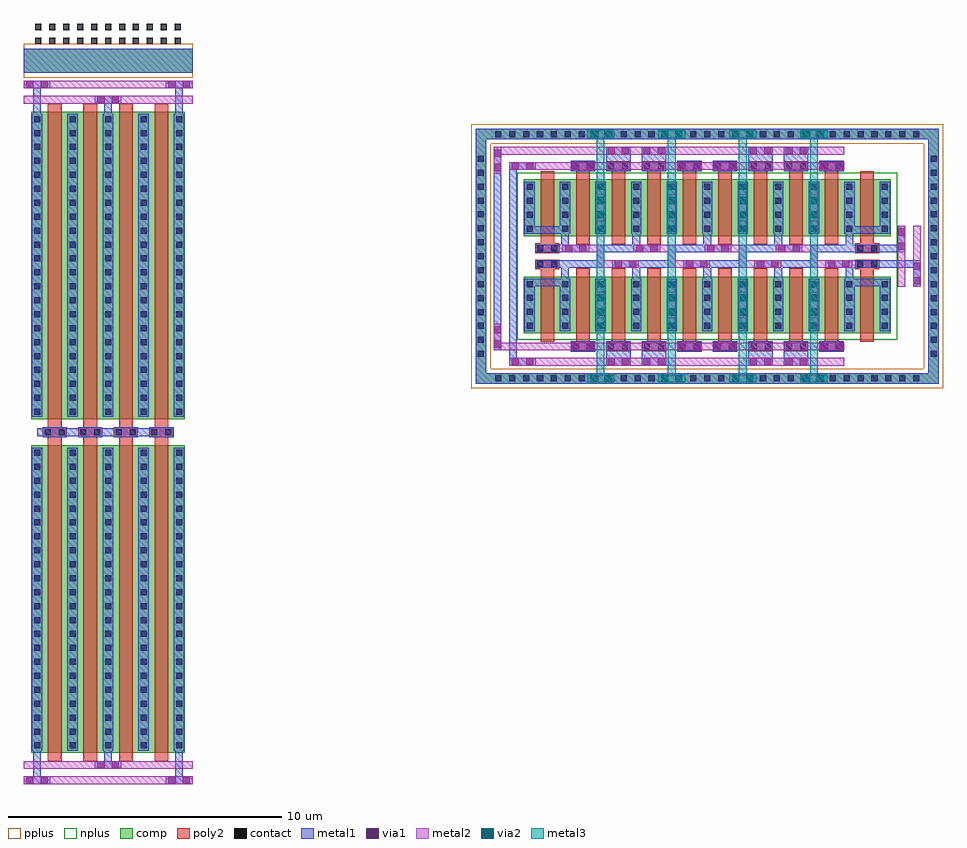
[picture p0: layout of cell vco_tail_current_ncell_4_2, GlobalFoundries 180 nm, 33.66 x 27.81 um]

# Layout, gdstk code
from math import pi, radians
import gdstk
lib = gdstk.Library(unit=1e-6, precision=5e-09)
def R(c, l, rs):  # rectangles x0, y0, x1, y1
    for r in rs: c.add(gdstk.rectangle(r[:2], r[2:], *l))
def A(c, l, x, y, w, h, nx, ny, dx, dy):  # array of equal rectangles
    R(c, l, [(x+i*dx, y+j*dy, x+i*dx+w, y+j*dy+h) for i in range(nx) for j in range(ny)])
comp = (22, 0)
poly2 = (30, 0)
pplus = (31, 0)
nplus = (32, 0)
contact = (33, 0)
metal1 = (34, 0)
via1 = (35, 0)
metal2 = (36, 0)
via2 = (38, 0)
metal3 = (42, 0)

vco_tail_current_ncell_1 = lib.new_cell('vco_tail_current_ncell_1$1')
R(vco_tail_current_ncell_1, comp, [(0,0.3,0.42,11.55), (0.42,0.3,1.3,11.55), (1.3,0.3,1.72,11.55)])
R(vco_tail_current_ncell_1, poly2, [(0.61,0,1.11,11.85)])
A(vco_tail_current_ncell_1, contact, 0.1, 0.46, 0.22, 0.22, 1, 22, 0, 0.51)
A(vco_tail_current_ncell_1, contact, 1.4, 0.46, 0.22, 0.22, 1, 22, 0, 0.51)
R(vco_tail_current_ncell_1, metal1, [(0.02,0.38,0.4,11.47), (1.32,0.38,1.7,11.47)])

vco_tail_current_ncell_4 = lib.new_cell('vco_tail_current_ncell_4')
A(vco_tail_current_ncell_4, poly2, 0.425, 11.85, 0.87, 0.36, 4, 1, 1.3, 0)
R(vco_tail_current_ncell_4, contact, [(0.495,11.92,0.715,12.14), (1.005,11.92,1.225,12.14), (1.795,11.92,2.015,12.14), (2.305,11.92,2.525,12.14), (3.095,11.92,3.315,12.14), (3.605,11.92,3.825,12.14), (4.395,11.92,4.615,12.14), (4.905,11.92,5.125,12.14)])
A(vco_tail_current_ncell_4, metal1, 0.415, 11.84, 0.89, 0.38, 4, 1, 1.3, 0)
vco_tail_current_ncell_4.add(gdstk.Reference(vco_tail_current_ncell_1, (0,0)))
vco_tail_current_ncell_4.add(gdstk.Reference(vco_tail_current_ncell_1, (1.3,0)))
vco_tail_current_ncell_4.add(gdstk.Reference(vco_tail_current_ncell_1, (2.6,0)))
vco_tail_current_ncell_4.add(gdstk.Reference(vco_tail_current_ncell_1, (3.9,0)))

delay_stage_ncell_1_1_1_ = lib.new_cell('delay_stage_ncell_1$1$1$1')
R(delay_stage_ncell_1_1_1_, comp, [(0,0.3,0.42,2.38), (0.42,0.3,1.3,2.38), (1.3,0.3,1.72,2.38)])
R(delay_stage_ncell_1_1_1_, poly2, [(0.61,0,1.11,2.68)])
A(delay_stage_ncell_1_1_1_, contact, 0.1, 0.465, 0.22, 0.22, 1, 4, 0, 0.51)
A(delay_stage_ncell_1_1_1_, contact, 1.4, 0.465, 0.22, 0.22, 1, 4, 0, 0.51)
R(delay_stage_ncell_1_1_1_, metal1, [(0.02,0.385,0.4,2.295), (1.32,0.385,1.7,2.295)])

delay_stage_ncell_1_2_1 = lib.new_cell('delay_stage_ncell_1_2$1')
R(delay_stage_ncell_1_2_1, poly2, [(0.425,3.01,1.295,3.37), (0.425,3.61,1.295,3.97)])
R(delay_stage_ncell_1_2_1, contact, [(0.495,3.08,0.715,3.3), (1.005,3.08,1.225,3.3), (0.495,3.68,0.715,3.9), (1.005,3.68,1.225,3.9)])
R(delay_stage_ncell_1_2_1, metal1, [(0.21,3.065,1.295,3.07), (0.21,3.91,1.295,3.915)])
delay_stage_ncell_1_2_1.add(gdstk.FlexPath([(0.4,2.525),(1.32,2.525)], 0.28, ends="flush", simple_path=True, layer=34, datatype=0))  # metal1
delay_stage_ncell_1_2_1.add(gdstk.FlexPath([(1.295,3.21),(0.21,3.21)], 0.28, ends="flush", simple_path=True, layer=34, datatype=0))  # metal1
delay_stage_ncell_1_2_1.add(gdstk.FlexPath([(0.4,4.455),(1.32,4.455)], 0.28, ends="flush", simple_path=True, layer=34, datatype=0))  # metal1
delay_stage_ncell_1_2_1.add(gdstk.FlexPath([(1.295,3.77),(0.21,3.77)], 0.28, ends="flush", simple_path=True, layer=34, datatype=0))  # metal1
delay_stage_ncell_1_2_1.add(gdstk.Reference(delay_stage_ncell_1_1_1_, (0,3.93)))
delay_stage_ncell_1_2_1.add(gdstk.Reference(delay_stage_ncell_1_1_1_, (0,3.05), x_reflection=True))

delay_stage_ncell_1_1_2_ = lib.new_cell('delay_stage_ncell_1$1$2$1')
R(delay_stage_ncell_1_1_2_, comp, [(0,0.3,0.42,2.38), (0.42,0.3,1.3,2.38), (1.3,0.3,1.72,2.38)])
R(delay_stage_ncell_1_1_2_, poly2, [(0.61,0,1.11,2.68)])
A(delay_stage_ncell_1_1_2_, contact, 0.1, 0.465, 0.22, 0.22, 1, 4, 0, 0.51)
A(delay_stage_ncell_1_1_2_, contact, 1.4, 0.465, 0.22, 0.22, 1, 4, 0, 0.51)
R(delay_stage_ncell_1_1_2_, metal1, [(0.02,0.385,0.4,2.295), (1.32,0.385,1.7,2.295)])

delay_stage_ncell_4_1_1 = lib.new_cell('delay_stage_ncell_4$1$1')
A(delay_stage_ncell_4_1_1, poly2, 0.425, 2.675, 0.87, 0.36, 4, 1, 1.3, 0)
R(delay_stage_ncell_4_1_1, contact, [(0.495,2.745,0.715,2.965), (1.005,2.745,1.225,2.965), (1.795,2.745,2.015,2.965), (2.305,2.745,2.525,2.965), (3.095,2.745,3.315,2.965), (3.605,2.745,3.825,2.965), (4.395,2.745,4.615,2.965), (4.905,2.745,5.125,2.965)])
A(delay_stage_ncell_4_1_1, metal1, 0.415, 2.665, 0.89, 0.38, 4, 1, 1.3, 0)
delay_stage_ncell_4_1_1.add(gdstk.Reference(delay_stage_ncell_1_1_2_, (0,-0.005)))
delay_stage_ncell_4_1_1.add(gdstk.Reference(delay_stage_ncell_1_1_2_, (1.3,-0.005)))
delay_stage_ncell_4_1_1.add(gdstk.Reference(delay_stage_ncell_1_1_2_, (2.6,-0.005)))
delay_stage_ncell_4_1_1.add(gdstk.Reference(delay_stage_ncell_1_1_2_, (3.9,-0.005)))

delay_stage_ncell_4_2_1 = lib.new_cell('delay_stage_ncell_4_2$1')
R(delay_stage_ncell_4_2_1, metal1, [(1.715,0,2.605,0.51), (3.015,0,3.905,0.51), (1.715,7.49,2.605,8), (3.015,7.49,3.905,8)])
R(delay_stage_ncell_4_2_1, via1, [(1.77,0.01,2.03,0.27), (2.29,0.01,2.55,0.27), (3.07,0.01,3.33,0.27), (3.59,0.01,3.85,0.27), (0.47,0.57,0.73,0.83), (0.99,0.57,1.25,0.83), (4.37,0.57,4.63,0.83), (4.89,0.57,5.15,0.83), (1.38,1.83,1.64,2.09), (3.98,1.83,4.24,2.09), (1.38,2.35,1.64,2.61), (3.98,2.35,4.24,2.61), (2.03,3.59,2.29,3.85), (2.55,3.59,2.81,3.85), (4.63,3.59,4.89,3.85), (5.15,3.59,5.41,3.85), (0.21,4.15,0.47,4.41), (0.73,4.15,0.99,4.41), (2.81,4.15,3.07,4.41), (3.33,4.15,3.59,4.41), (1.38,5.39,1.64,5.65), (3.98,5.39,4.24,5.65), (1.38,5.91,1.64,6.17), (3.98,5.91,4.24,6.17), (0.47,7.17,0.73,7.43), (0.99,7.17,1.25,7.43), (4.37,7.17,4.63,7.43), (4.89,7.17,5.15,7.43), (1.77,7.73,2.03,7.99), (2.29,7.73,2.55,7.99), (3.07,7.73,3.33,7.99), (3.59,7.73,3.85,7.99)])
R(delay_stage_ncell_4_2_1, via2, [(1.38,1.83,1.64,2.09), (3.98,1.83,4.24,2.09), (1.38,2.35,1.64,2.61), (3.98,2.35,4.24,2.61), (1.38,5.39,1.64,5.65), (3.98,5.39,4.24,5.65), (1.38,5.91,1.64,6.17), (3.98,5.91,4.24,6.17)])
delay_stage_ncell_4_2_1.add(gdstk.FlexPath([(2.81,4.825),(2.81,4.42)], 0.28, ends="flush", simple_path=True, layer=34, datatype=0))  # metal1
delay_stage_ncell_4_2_1.add(gdstk.FlexPath([(2.81,3.175),(2.81,3.58)], 0.28, ends="flush", simple_path=True, layer=34, datatype=0))  # metal1
delay_stage_ncell_4_2_1.add(gdstk.FlexPath([(0.21,3.175),(0.21,3.58)], 0.28, ends="flush", simple_path=True, layer=34, datatype=0))  # metal1
delay_stage_ncell_4_2_1.add(gdstk.FlexPath([(0.21,4.825),(0.21,4.42)], 0.28, ends="flush", simple_path=True, layer=34, datatype=0))  # metal1
delay_stage_ncell_4_2_1.add(gdstk.FlexPath([(2.91,4.28),(1.51,4.28),(1.51,3.72),(0.07,3.72)], 0.28, ends="flush", simple_path=True, layer=34, datatype=0))  # metal1
delay_stage_ncell_4_2_1.add(gdstk.FlexPath([(1.09,4.28),(0.07,4.28)], 0.28, ends="flush", simple_path=True, layer=34, datatype=0))  # metal1
delay_stage_ncell_4_2_1.add(gdstk.FlexPath([(5.41,3.175),(5.41,3.58)], 0.28, ends="flush", simple_path=True, layer=34, datatype=0))  # metal1
delay_stage_ncell_4_2_1.add(gdstk.FlexPath([(5.55,4.28),(4.11,4.28),(4.11,3.72),(2.71,3.72)], 0.28, ends="flush", simple_path=True, layer=34, datatype=0))  # metal1
delay_stage_ncell_4_2_1.add(gdstk.FlexPath([(3.69,4.28),(2.71,4.28)], 0.28, ends="flush", simple_path=True, layer=34, datatype=0))  # metal1
delay_stage_ncell_4_2_1.add(gdstk.FlexPath([(5.41,4.825),(5.41,4.42)], 0.28, ends="flush", simple_path=True, layer=34, datatype=0))  # metal1
delay_stage_ncell_4_2_1.add(gdstk.FlexPath([(2.81,3.175),(2.81,3.58)], 0.28, ends="flush", simple_path=True, layer=34, datatype=0))  # metal1
delay_stage_ncell_4_2_1.add(gdstk.FlexPath([(5.55,3.72),(4.53,3.72)], 0.28, ends="flush", simple_path=True, layer=34, datatype=0))  # metal1
delay_stage_ncell_4_2_1.add(gdstk.FlexPath([(2.81,4.825),(2.81,4.42)], 0.28, ends="flush", simple_path=True, layer=34, datatype=0))  # metal1
delay_stage_ncell_4_2_1.add(gdstk.FlexPath([(2.91,3.72),(1.93,3.72)], 0.28, ends="flush", simple_path=True, layer=34, datatype=0))  # metal1
delay_stage_ncell_4_2_1.add(gdstk.FlexPath([(5.41,7.3),(0.405,7.3)], 0.28, ends="flush", simple_path=True, layer=36, datatype=0))  # metal2
delay_stage_ncell_4_2_1.add(gdstk.FlexPath([(5.41,7.86),(0.405,7.86)], 0.28, ends="flush", simple_path=True, layer=36, datatype=0))  # metal2
delay_stage_ncell_4_2_1.add(gdstk.FlexPath([(5.41,0.7),(0.405,0.7)], 0.28, ends="flush", simple_path=True, layer=36, datatype=0))  # metal2
delay_stage_ncell_4_2_1.add(gdstk.FlexPath([(5.41,0.14),(0.405,0.14)], 0.28, ends="flush", simple_path=True, layer=36, datatype=0))  # metal2
delay_stage_ncell_4_2_1.add(gdstk.FlexPath([(4.11,5.29),(4.11,6.27)], 0.28, ends="flush", simple_path=True, layer=36, datatype=0))  # metal2
delay_stage_ncell_4_2_1.add(gdstk.FlexPath([(1.51,5.29),(1.51,6.27)], 0.28, ends="flush", simple_path=True, layer=36, datatype=0))  # metal2
delay_stage_ncell_4_2_1.add(gdstk.FlexPath([(4.11,1.73),(4.11,2.71)], 0.28, ends="flush", simple_path=True, layer=36, datatype=0))  # metal2
delay_stage_ncell_4_2_1.add(gdstk.FlexPath([(1.51,1.73),(1.51,2.71)], 0.28, ends="flush", simple_path=True, layer=36, datatype=0))  # metal2
delay_stage_ncell_4_2_1.add(gdstk.FlexPath([(2.91,3.72),(1.51,3.72),(1.51,4.28),(0.11,4.28)], 0.28, ends="flush", simple_path=True, layer=36, datatype=0))  # metal2
delay_stage_ncell_4_2_1.add(gdstk.FlexPath([(5.51,3.72),(4.11,3.72),(4.11,4.28),(2.71,4.28)], 0.28, ends="flush", simple_path=True, layer=36, datatype=0))  # metal2
delay_stage_ncell_4_2_1.add(gdstk.FlexPath([(4.11,5.29),(4.11,6.27)], 0.28, ends="flush", simple_path=True, layer=42, datatype=0))  # metal3
delay_stage_ncell_4_2_1.add(gdstk.FlexPath([(1.51,5.29),(1.51,6.27)], 0.28, ends="flush", simple_path=True, layer=42, datatype=0))  # metal3
delay_stage_ncell_4_2_1.add(gdstk.FlexPath([(4.11,1.73),(4.11,2.71)], 0.28, ends="flush", simple_path=True, layer=42, datatype=0))  # metal3
delay_stage_ncell_4_2_1.add(gdstk.FlexPath([(1.51,1.73),(1.51,2.71)], 0.28, ends="flush", simple_path=True, layer=42, datatype=0))  # metal3
delay_stage_ncell_4_2_1.add(gdstk.Reference(delay_stage_ncell_4_1_1, (0,4.445)))
delay_stage_ncell_4_2_1.add(gdstk.Reference(delay_stage_ncell_4_1_1, (0,3.555), x_reflection=True))

c_vco_tail_current_ncell_4 = lib.new_cell('vco_tail_current_ncell_4_2')
R(c_vco_tail_current_ncell_4, nplus, [(18.065,16.25,31.965,22.37)])
A(c_vco_tail_current_ncell_4, contact, 17.255, 14.73, 0.22, 0.22, 31, 2, 0.51, 8.94)
A(c_vco_tail_current_ncell_4, contact, 16.625, 15.63, 0.22, 0.22, 1, 15, 0, 0.51)
A(c_vco_tail_current_ncell_4, contact, 33.185, 15.63, 0.22, 0.22, 1, 15, 0, 0.51)
A(c_vco_tail_current_ncell_4, contact, 0.43, 27.08, 0.22, 0.22, 11, 2, 0.51, 0.51)
R(c_vco_tail_current_ncell_4, via1, [(0.1,0.01,0.36,0.27), (0.62,0.01,0.88,0.27), (5.3,0.01,5.56,0.27), (5.82,0.01,6.08,0.27), (2.7,0.57,2.96,0.83), (3.22,0.57,3.48,0.83), (20.725,14.71,20.985,14.97), (21.245,14.71,21.505,14.97), (23.325,14.71,23.585,14.97), (23.845,14.71,24.105,14.97), (25.925,14.71,26.185,14.97), (26.445,14.71,26.705,14.97), (28.525,14.71,28.785,14.97), (29.045,14.71,29.305,14.97), (17.865,15.32,18.125,15.58), (17.865,15.32,18.125,15.58), (18.385,15.32,18.645,15.58), (18.385,15.32,18.645,15.58), (17.215,15.97,17.475,16.23), (17.215,15.97,17.475,16.23), (17.215,16.49,17.475,16.75), (17.215,16.49,17.475,16.75), (32.555,18.29,32.815,18.55), (32.555,18.29,32.815,18.55), (32.555,18.81,32.815,19.07), (32.555,18.81,32.815,19.07), (31.995,19.55,32.255,19.81), (31.995,19.55,32.255,19.81), (31.995,20.07,32.255,20.33), (31.995,20.07,32.255,20.33), (17.215,22.43,17.475,22.69), (17.215,22.43,17.475,22.69), (17.865,22.48,18.125,22.74), (17.865,22.48,18.125,22.74), (18.385,22.48,18.645,22.74), (18.385,22.48,18.645,22.74), (17.215,22.95,17.475,23.21), (17.215,22.95,17.475,23.21), (20.725,23.65,20.985,23.91), (21.245,23.65,21.505,23.91), (23.325,23.65,23.585,23.91), (23.845,23.65,24.105,23.91), (25.925,23.65,26.185,23.91), (26.445,23.65,26.705,23.91), (28.525,23.65,28.785,23.91), (29.045,23.65,29.305,23.91), (2.7,24.91,2.96,25.17), (3.22,24.91,3.48,25.17), (0.1,25.47,0.36,25.73), (0.62,25.47,0.88,25.73), (5.3,25.47,5.56,25.73), (5.82,25.47,6.08,25.73)])
R(c_vco_tail_current_ncell_4, via2, [(20.725,14.71,20.985,14.97), (21.245,14.71,21.505,14.97), (23.325,14.71,23.585,14.97), (23.845,14.71,24.105,14.97), (25.925,14.71,26.185,14.97), (26.445,14.71,26.705,14.97), (28.525,14.71,28.785,14.97), (29.045,14.71,29.305,14.97), (20.725,23.65,20.985,23.91), (21.245,23.65,21.505,23.91), (23.325,23.65,23.585,23.91), (23.845,23.65,24.105,23.91), (25.925,23.65,26.185,23.91), (26.445,23.65,26.705,23.91), (28.525,23.65,28.785,23.91), (29.045,23.65,29.305,23.91)])
c_vco_tail_current_ncell_4.add(gdstk.FlexPath([(33.295,23.97),(33.295,14.84),(16.735,14.84),(16.735,23.78),(33.105,23.78)], 0.38, ends="flush", simple_path=True, layer=34, datatype=0))  # metal1
c_vco_tail_current_ncell_4.add(gdstk.FlexPath([(30.355,19.03),(32.545,19.03)], 0.28, ends="flush", simple_path=True, layer=34, datatype=0))  # metal1
c_vco_tail_current_ncell_4.add(gdstk.FlexPath([(30.355,19.59),(31.985,19.59)], 0.28, ends="flush", simple_path=True, layer=34, datatype=0))  # metal1
c_vco_tail_current_ncell_4.add(gdstk.FlexPath([(32.685,18.19),(32.685,19.17)], 0.28, ends="flush", simple_path=True, layer=34, datatype=0))  # metal1
c_vco_tail_current_ncell_4.add(gdstk.FlexPath([(32.685,18.19),(32.685,19.17)], 0.28, ends="flush", simple_path=True, layer=34, datatype=0))  # metal1
c_vco_tail_current_ncell_4.add(gdstk.FlexPath([(32.125,19.45),(32.125,20.43)], 0.28, ends="flush", simple_path=True, layer=34, datatype=0))  # metal1
c_vco_tail_current_ncell_4.add(gdstk.FlexPath([(32.125,19.45),(32.125,20.43)], 0.28, ends="flush", simple_path=True, layer=34, datatype=0))  # metal1
c_vco_tail_current_ncell_4.add(gdstk.FlexPath([(17.345,15.87),(17.345,23.31)], 0.28, ends="flush", simple_path=True, layer=34, datatype=0))  # metal1
c_vco_tail_current_ncell_4.add(gdstk.FlexPath([(17.905,15.59),(17.905,22.75)], 0.28, ends="flush", simple_path=True, layer=34, datatype=0))  # metal1
c_vco_tail_current_ncell_4.add(gdstk.FlexPath([(17.345,22.33),(17.345,23.31)], 0.28, ends="flush", simple_path=True, layer=34, datatype=0))  # metal1
c_vco_tail_current_ncell_4.add(gdstk.FlexPath([(17.765,22.61),(18.745,22.61)], 0.28, ends="flush", simple_path=True, layer=34, datatype=0))  # metal1
c_vco_tail_current_ncell_4.add(gdstk.FlexPath([(17.765,15.45),(18.745,15.45)], 0.28, ends="flush", simple_path=True, layer=34, datatype=0))  # metal1
c_vco_tail_current_ncell_4.add(gdstk.FlexPath([(17.345,16.85),(17.345,15.87)], 0.28, ends="flush", simple_path=True, layer=34, datatype=0))  # metal1
c_vco_tail_current_ncell_4.add(gdstk.FlexPath([(0,26.465),(6.18,26.465)], 0.89, ends="flush", simple_path=True, layer=34, datatype=0))  # metal1
c_vco_tail_current_ncell_4.add(gdstk.FlexPath([(2.6,25.04),(3.58,25.04)], 0.28, ends="flush", simple_path=True, layer=34, datatype=0))  # metal1
c_vco_tail_current_ncell_4.add(gdstk.FlexPath([(3.09,24.52),(3.09,24.9)], 0.28, ends="flush", simple_path=True, layer=34, datatype=0))  # metal1
c_vco_tail_current_ncell_4.add(gdstk.FlexPath([(5.2,25.6),(6.18,25.6)], 0.28, ends="flush", simple_path=True, layer=34, datatype=0))  # metal1
c_vco_tail_current_ncell_4.add(gdstk.FlexPath([(5.69,24.52),(5.69,25.46)], 0.28, ends="flush", simple_path=True, layer=34, datatype=0))  # metal1
c_vco_tail_current_ncell_4.add(gdstk.FlexPath([(0,25.6),(0.98,25.6)], 0.28, ends="flush", simple_path=True, layer=34, datatype=0))  # metal1
c_vco_tail_current_ncell_4.add(gdstk.FlexPath([(0.49,24.52),(0.49,25.46)], 0.28, ends="flush", simple_path=True, layer=34, datatype=0))  # metal1
c_vco_tail_current_ncell_4.add(gdstk.FlexPath([(2.6,0.7),(3.58,0.7)], 0.28, ends="flush", simple_path=True, layer=34, datatype=0))  # metal1
c_vco_tail_current_ncell_4.add(gdstk.FlexPath([(3.09,1.22),(3.09,0.84)], 0.28, ends="flush", simple_path=True, layer=34, datatype=0))  # metal1
c_vco_tail_current_ncell_4.add(gdstk.FlexPath([(5.2,0.14),(6.18,0.14)], 0.28, ends="flush", simple_path=True, layer=34, datatype=0))  # metal1
c_vco_tail_current_ncell_4.add(gdstk.FlexPath([(5.69,1.22),(5.69,0.28)], 0.28, ends="flush", simple_path=True, layer=34, datatype=0))  # metal1
c_vco_tail_current_ncell_4.add(gdstk.FlexPath([(0,0.14),(0.98,0.14)], 0.28, ends="flush", simple_path=True, layer=34, datatype=0))  # metal1
c_vco_tail_current_ncell_4.add(gdstk.FlexPath([(0.49,1.22),(0.49,0.28)], 0.28, ends="flush", simple_path=True, layer=34, datatype=0))  # metal1
c_vco_tail_current_ncell_4.add(gdstk.FlexPath([(4.595,12.87),(0.49,12.87)], 0.28, ends="flush", simple_path=True, layer=34, datatype=0))  # metal1
c_vco_tail_current_ncell_4.add(gdstk.FlexPath([(33.295,23.97),(33.295,14.84),(16.735,14.84),(16.735,23.78),(33.105,23.78)], 0.38, ends="flush", simple_path=True, layer=22, datatype=0))  # comp
c_vco_tail_current_ncell_4.add(gdstk.FlexPath([(0,26.465),(6.18,26.465)], 0.89, ends="flush", simple_path=True, layer=22, datatype=0))  # comp
c_vco_tail_current_ncell_4.add(gdstk.FlexPath([(32.125,18.19),(32.125,20.43)], 0.28, ends="flush", simple_path=True, layer=36, datatype=0))  # metal2
c_vco_tail_current_ncell_4.add(gdstk.FlexPath([(32.685,18.19),(32.685,20.43)], 0.28, ends="flush", simple_path=True, layer=36, datatype=0))  # metal2
c_vco_tail_current_ncell_4.add(gdstk.FlexPath([(28.425,14.84),(29.405,14.84)], 0.28, ends="flush", simple_path=True, layer=36, datatype=0))  # metal2
c_vco_tail_current_ncell_4.add(gdstk.FlexPath([(28.425,23.78),(29.405,23.78)], 0.28, ends="flush", simple_path=True, layer=36, datatype=0))  # metal2
c_vco_tail_current_ncell_4.add(gdstk.FlexPath([(25.825,14.84),(26.805,14.84)], 0.28, ends="flush", simple_path=True, layer=36, datatype=0))  # metal2
c_vco_tail_current_ncell_4.add(gdstk.FlexPath([(25.825,23.78),(26.805,23.78)], 0.28, ends="flush", simple_path=True, layer=36, datatype=0))  # metal2
c_vco_tail_current_ncell_4.add(gdstk.FlexPath([(23.225,14.84),(24.205,14.84)], 0.28, ends="flush", simple_path=True, layer=36, datatype=0))  # metal2
c_vco_tail_current_ncell_4.add(gdstk.FlexPath([(23.225,23.78),(24.205,23.78)], 0.28, ends="flush", simple_path=True, layer=36, datatype=0))  # metal2
c_vco_tail_current_ncell_4.add(gdstk.FlexPath([(20.625,14.84),(21.605,14.84)], 0.28, ends="flush", simple_path=True, layer=36, datatype=0))  # metal2
c_vco_tail_current_ncell_4.add(gdstk.FlexPath([(20.625,23.78),(21.605,23.78)], 0.28, ends="flush", simple_path=True, layer=36, datatype=0))  # metal2
c_vco_tail_current_ncell_4.add(gdstk.FlexPath([(20.01,16.01),(17.205,16.01)], 0.28, ends="flush", simple_path=True, layer=36, datatype=0))  # metal2
c_vco_tail_current_ncell_4.add(gdstk.FlexPath([(20.01,15.45),(18.745,15.45)], 0.28, ends="flush", simple_path=True, layer=36, datatype=0))  # metal2
c_vco_tail_current_ncell_4.add(gdstk.FlexPath([(20.01,22.61),(18.045,22.61)], 0.28, ends="flush", simple_path=True, layer=36, datatype=0))  # metal2
c_vco_tail_current_ncell_4.add(gdstk.FlexPath([(20.01,23.17),(17.485,23.17)], 0.28, ends="flush", simple_path=True, layer=36, datatype=0))  # metal2
c_vco_tail_current_ncell_4.add(gdstk.FlexPath([(17.345,22.33),(17.345,23.31)], 0.28, ends="flush", simple_path=True, layer=36, datatype=0))  # metal2
c_vco_tail_current_ncell_4.add(gdstk.FlexPath([(17.765,22.61),(18.745,22.61)], 0.28, ends="flush", simple_path=True, layer=36, datatype=0))  # metal2
c_vco_tail_current_ncell_4.add(gdstk.FlexPath([(17.765,15.45),(18.745,15.45)], 0.28, ends="flush", simple_path=True, layer=36, datatype=0))  # metal2
c_vco_tail_current_ncell_4.add(gdstk.FlexPath([(17.345,16.85),(17.345,15.87)], 0.28, ends="flush", simple_path=True, layer=36, datatype=0))  # metal2
c_vco_tail_current_ncell_4.add(gdstk.FlexPath([(0,25.04),(6.18,25.04)], 0.28, ends="flush", simple_path=True, layer=36, datatype=0))  # metal2
c_vco_tail_current_ncell_4.add(gdstk.FlexPath([(0,25.6),(6.18,25.6)], 0.28, ends="flush", simple_path=True, layer=36, datatype=0))  # metal2
c_vco_tail_current_ncell_4.add(gdstk.FlexPath([(0,0.7),(6.18,0.7)], 0.28, ends="flush", simple_path=True, layer=36, datatype=0))  # metal2
c_vco_tail_current_ncell_4.add(gdstk.FlexPath([(0,0.14),(6.18,0.14)], 0.28, ends="flush", simple_path=True, layer=36, datatype=0))  # metal2
c_vco_tail_current_ncell_4.add(gdstk.FlexPath([(28.425,14.84),(29.405,14.84)], 0.28, ends="flush", simple_path=True, layer=42, datatype=0))  # metal3
c_vco_tail_current_ncell_4.add(gdstk.FlexPath([(28.425,23.78),(29.405,23.78)], 0.28, ends="flush", simple_path=True, layer=42, datatype=0))  # metal3
c_vco_tail_current_ncell_4.add(gdstk.FlexPath([(28.915,23.64),(28.915,14.98)], 0.28, ends="flush", simple_path=True, layer=42, datatype=0))  # metal3
c_vco_tail_current_ncell_4.add(gdstk.FlexPath([(25.825,14.84),(26.805,14.84)], 0.28, ends="flush", simple_path=True, layer=42, datatype=0))  # metal3
c_vco_tail_current_ncell_4.add(gdstk.FlexPath([(25.825,23.78),(26.805,23.78)], 0.28, ends="flush", simple_path=True, layer=42, datatype=0))  # metal3
c_vco_tail_current_ncell_4.add(gdstk.FlexPath([(26.315,23.64),(26.315,14.98)], 0.28, ends="flush", simple_path=True, layer=42, datatype=0))  # metal3
c_vco_tail_current_ncell_4.add(gdstk.FlexPath([(23.225,14.84),(24.205,14.84)], 0.28, ends="flush", simple_path=True, layer=42, datatype=0))  # metal3
c_vco_tail_current_ncell_4.add(gdstk.FlexPath([(23.225,23.78),(24.205,23.78)], 0.28, ends="flush", simple_path=True, layer=42, datatype=0))  # metal3
c_vco_tail_current_ncell_4.add(gdstk.FlexPath([(23.715,23.64),(23.715,14.98)], 0.28, ends="flush", simple_path=True, layer=42, datatype=0))  # metal3
c_vco_tail_current_ncell_4.add(gdstk.FlexPath([(20.625,14.84),(21.605,14.84)], 0.28, ends="flush", simple_path=True, layer=42, datatype=0))  # metal3
c_vco_tail_current_ncell_4.add(gdstk.FlexPath([(20.625,23.78),(21.605,23.78)], 0.28, ends="flush", simple_path=True, layer=42, datatype=0))  # metal3
c_vco_tail_current_ncell_4.add(gdstk.FlexPath([(21.115,23.64),(21.115,14.98)], 0.28, ends="flush", simple_path=True, layer=42, datatype=0))  # metal3
c_vco_tail_current_ncell_4.add(gdstk.FlexPath([(33.295,24.14),(33.295,14.84),(16.735,14.84),(16.735,23.78),(33.655,23.78)], 0.72, ends="flush", simple_path=True, layer=31, datatype=0))  # pplus
c_vco_tail_current_ncell_4.add(gdstk.FlexPath([(0,26.465),(6.18,26.465)], 1.23, ends="flush", simple_path=True, layer=31, datatype=0))  # pplus
c_vco_tail_current_ncell_4.add(gdstk.Reference(vco_tail_current_ncell_4, (0.28,0.84)))
c_vco_tail_current_ncell_4.add(gdstk.Reference(vco_tail_current_ncell_4, (0.28,24.9), x_reflection=True))
c_vco_tail_current_ncell_4.add(gdstk.Reference(delay_stage_ncell_1_2_1, (30.005,15.82)))
c_vco_tail_current_ncell_4.add(gdstk.Reference(delay_stage_ncell_1_2_1, (20.025,15.82), rotation=pi, x_reflection=True))
c_vco_tail_current_ncell_4.add(gdstk.Reference(delay_stage_ncell_4_2_1, (19.605,15.31)))
c_vco_tail_current_ncell_4.add(gdstk.Reference(delay_stage_ncell_4_2_1, (30.425,23.31), rotation=pi))

lib.write_gds('vco_tail_current_ncell_4_2.gds')
